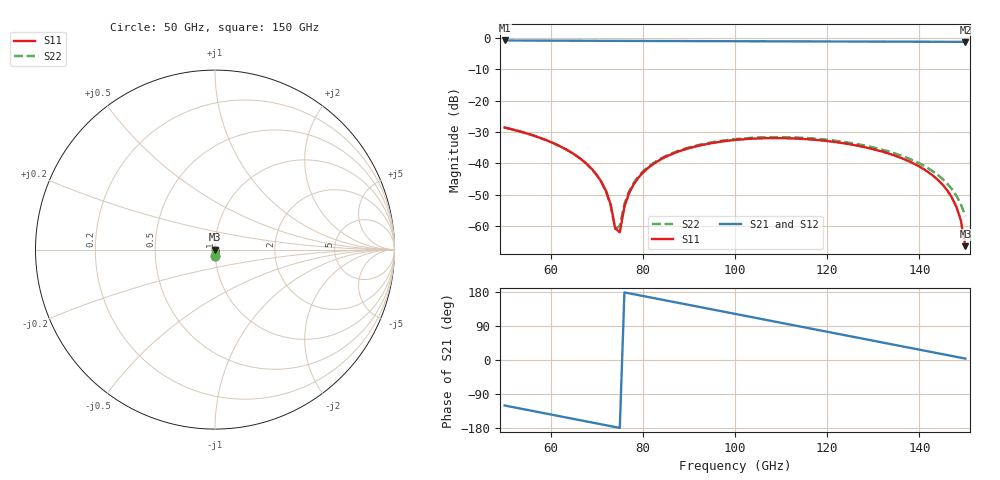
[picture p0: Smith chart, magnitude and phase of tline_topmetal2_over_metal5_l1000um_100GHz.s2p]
#  GHZ S DB R 50
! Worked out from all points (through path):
!   101 points, 50 GHz to 150 GHz, reference 50 ohm
!   highest |S21| = -0.78 dB at 50 GHz (marker M1); lowest = -1.2 dB at 150 GHz (marker M2)
!   group delay of S21, straight-line fit = 6.56 ps
!   lowest |S11| = -66.5 dB at 150 GHz (marker M3), VSWR 1.00, Z = 50 + j0.00842 ohm
!   |S11| at or under -10 dB: start of sweep to end of sweep
!   |S22| runs from -61.0 to -28.6 dB; largest |S21 - S12| = 1e-13
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50  -28.61 -92.9  -0.78 -120.1  -0.78 -120.1  -28.58 -93.1
60  -33.23 -115.4  -0.84 -143.7  -0.84 -143.7  -33.20 -115.5
67  -39.20 -130.3  -0.88 -160.3  -0.88 -160.3  -39.21 -130.0
71  -45.95 -136.4  -0.90 -169.8  -0.90 -169.8  -46.07 -135.3
73  -53.09 -133.7  -0.91 -174.5  -0.91 -174.5  -53.43 -129.9
74  -60.80 -115.8  -0.91 -176.8  -0.91 -176.8  -61.03 -103.9
75  -62.07 -10.9  -0.92 -179.2  -0.92 -179.2  -60.02 -11.4
76  -53.91 11.9  -0.92 178.4  -0.92 178.4  -53.05 9.2
78  -46.77 15.4  -0.93 173.7  -0.93 173.7  -46.33 13.5
81  -41.67 11.2  -0.95 166.6  -0.95 166.6  -41.36 9.9
84  -38.70 5.2  -0.96 159.5  -0.96 159.5  -38.43 4.1
91  -34.82 -10.2  -0.99 143.0  -0.99 143.0  -34.57 -11.2
100  -32.59 -30.8  -1.03 121.8  -1.03 121.8  -32.32 -31.9
109  -31.99 -51.9  -1.06 100.5  -1.06 100.5  -31.67 -53.0
117  -32.49 -70.8  -1.10 81.6  -1.10 81.6  -32.11 -72.1
125  -33.98 -89.9  -1.13 62.7  -1.13 62.7  -33.50 -91.4
134  -37.24 -111.8  -1.16 41.5  -1.16 41.5  -36.55 -113.6
141  -41.94 -129.5  -1.19 25.0  -1.19 25.0  -40.83 -131.9
146  -48.55 -144.1  -1.21 13.2  -1.21 13.2  -46.43 -147.4
148  -53.75 -152.9  -1.22 8.4  -1.22 8.4  -50.27 -156.2
149  -58.21 -161.3  -1.22 6.1  -1.22 6.1  -53.04 -162.9
150  -66.51 169.7  -1.23 3.7  -1.23 3.7  -56.91 -174.4
